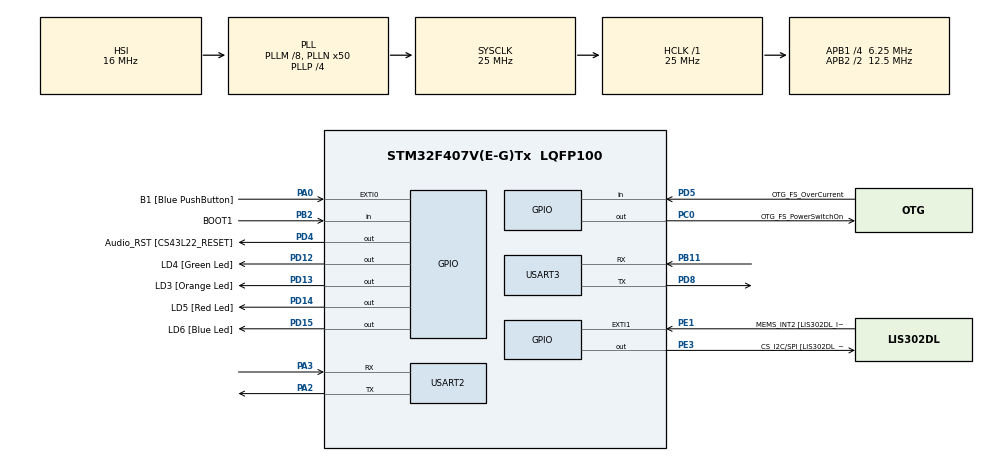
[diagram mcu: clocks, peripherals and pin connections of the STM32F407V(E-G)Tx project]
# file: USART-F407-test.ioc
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Mcu.Family=STM32F4
PA11.GPIO_Speed=GPIO_SPEED_FREQ_LOW
NVIC.USART3_IRQn=true\:0\:0\:false\:false\:true\:true\:true
PC3.GPIO_Mode=GPIO_MODE_AF_PP
PD12.GPIO_Label=LD4 [Green Led]
PH0-OSC_IN.Signal=RCC_OSC_IN
RCC.CortexFreq_Value=25000000
PC10.GPIO_PuPd=GPIO_NOPULL
PB10.GPIO_Speed=GPIO_SPEED_FREQ_LOW
PB6.GPIO_Mode=GPIO_MODE_AF_OD
PB10.GPIO_PuPd=GPIO_NOPULL
PA10.GPIO_PuPd=GPIO_NOPULL
PD15.GPIO_Speed=GPIO_SPEED_FREQ_LOW
PC10.Signal=I2S3_CK
PC12.Signal=I2S3_SD
PA14.GPIO_Label=SWCLK
PA7.GPIO_Mode=GPIO_MODE_AF_PP
PC0.GPIO_Label=OTG_FS_PowerSwitchOn
PA6.GPIO_Label=SPI1_MISO [LIS302DL_SDO]
PB6.GPIO_Label=Audio_SCL [CS43L22_SCL]
PC10.GPIO_Speed=GPIO_SPEED_FREQ_LOW
PA11.GPIO_PuPd=GPIO_NOPULL
PB11.Signal=USART3_RX
PC15-OSC32_OUT.GPIO_Label=PC15-OSC32_OUT
PC3.GPIO_Speed=GPIO_SPEED_FREQ_LOW
RCC.SYSCLKSource=RCC_SYSCLKSOURCE_PLLCLK
ProjectManager.StackSize=0x400
PA6.GPIO_Mode=GPIO_MODE_AF_PP
PD13.Signal=GPIO_Output
PD14.GPIO_Speed=GPIO_SPEED_FREQ_LOW
PA12.Signal=USB_OTG_FS_DP
RCC.HCLKFreq_Value=25000000
PD4.Signal=GPIO_Output
RCC.APB2TimFreq_Value=25000000
PB6.Signal=I2C1_SCL
PC7.Signal=I2S3_MCK
PC3.Signal=I2S2_SD
PD8.Signal=USART3_TX
PE1.Signal=GPXTI1
RCC.AHBFreq_Value=25000000
PH0-OSC_IN.GPIO_Label=PH0-OSC_IN
PA9.GPIO_Mode=GPIO_MODE_INPUT
RCC.HSE_VALUE=8000000
PA4.GPIO_PuPd=GPIO_NOPULL
PB2.Signal=GPIO_Input
PA4.GPIO_Speed=GPIO_SPEED_FREQ_LOW
PA6.GPIO_PuPd=GPIO_NOPULL
PA5.GPIO_PuPd=GPIO_NOPULL
PA10.GPIO_Label=OTG_FS_ID
PC7.GPIO_Mode=GPIO_MODE_AF_PP
PD5.GPIO_Mode=GPIO_MODE_INPUT
PD14.GPIO_PuPd=GPIO_NOPULL
PB2.GPIO_PuPd=GPIO_NOPULL
PD13.GPIO_Label=LD3 [Orange Led]
Mcu.Package=LQFP100
PB9.Signal=I2C1_SDA
PA6.Signal=SPI1_MISO
USART2.VirtualMode=VM_ASYNC
PD12.Signal=GPIO_Output
PD5.GPIO_Label=OTG_FS_OverCurrent
PD15.GPIO_PuPd=GPIO_NOPULL
PA10.Signal=USB_OTG_FS_ID
PB9.GPIO_PuPd=GPIO_NOPULL
PA10.GPIO_Speed=GPIO_SPEED_FREQ_LOW
RCC.APB2CLKDivider=RCC_HCLK_DIV2
PB9.GPIO_Speed=GPIO_SPEED_FREQ_LOW
RCC.APB1TimFreq_Value=12500000
PC14-OSC32_IN.GPIO_Label=PC14-OSC32_IN
PC12.GPIO_PuPd=GPIO_NOPULL
PA6.GPIO_Speed=GPIO_SPEED_FREQ_LOW
PC0.GPIO_PuPd=GPIO_NOPULL
PA12.GPIO_PuPd=GPIO_NOPULL
PA4.GPIO_Label=I2S3_WS [CS43L22_LRCK]
PD15.Signal=GPIO_Output
PC0.PinState=GPIO_PIN_SET
PA12.GPIO_Speed=GPIO_SPEED_FREQ_LOW
PA3.Signal=USART2_RX
PB3.GPIO_Label=SWO
PD12.GPIO_Speed=GPIO_SPEED_FREQ_LOW
PD15.GPIO_Label=LD6 [Blue Led]
PB9.GPIO_Label=Audio_SDA [CS43L22_SDA]
PC10.GPIO_Label=I2S3_SCK [CS43L22_SCLK]
PA9.GPIO_Label=VBUS_FS
PB6.GPIO_PuPd=GPIO_NOPULL
PA11.GPIO_Label=OTG_FS_DM
PE1.GPIO_PuPd=GPIO_NOPULL
PD5.Signal=GPIO_Input
PC0.Signal=GPIO_Output
PE1.GPIO_ModeDefaultEXTI=GPIO_MODE_EVT_RISING
RCC.APB1CLKDivider=RCC_HCLK_DIV4
PC14-OSC32_IN.Signal=RCC_OSC32_IN
PA9.GPIO_PuPd=GPIO_NOPULL
NVIC.USART2_IRQn=true\:0\:0\:false\:false\:true\:true\:true
PA12.GPIO_Label=OTG_FS_DP
PA0-WKUP.GPIO_Label=B1 [Blue PushButton]
PA0-WKUP.Signal=GPXTI0
PA10.GPIO_Mode=GPIO_MODE_AF_PP
PA3.Mode=Asynchronous
PA13.Signal=SYS_JTMS-SWDIO
PC10.GPIO_Mode=GPIO_MODE_AF_PP
PD4.GPIO_PuPd=GPIO_NOPULL
PC0.GPIO_Speed=GPIO_SPEED_FREQ_LOW
PB10.GPIO_Mode=GPIO_MODE_AF_PP
PB11.Mode=Asynchronous
ProjectManager.TargetToolchain=STM32CubeIDE
PB10.GPIO_Label=CLK_IN [MP45DT02_CLK]
PA9.Signal=USB_OTG_FS_VBUS
PC7.GPIO_PuPd=GPIO_NOPULL
RCC.LSE_VALUE=32768
PC15-OSC32_OUT.Signal=RCC_OSC32_OUT
PD8.Mode=Asynchronous
PA7.GPIO_PuPd=GPIO_NOPULL
PB10.Signal=I2S2_CK
PA5.Signal=SPI1_SCK
board=STM32F407G-DISC1
PD13.GPIO_Speed=GPIO_SPEED_FREQ_LOW
PC7.GPIO_Speed=GPIO_SPEED_FREQ_LOW
RCC.VCOOutputFreq_Value=100000000
PE1.GPIO_Label=MEMS_INT2 [LIS302DL_INT2]
PA7.GPIO_Speed=GPIO_SPEED_FREQ_LOW
PB9.GPIO_Mode=GPIO_MODE_AF_OD
PA12.GPIO_Mode=GPIO_MODE_AF_PP
PA4.GPIO_Mode=GPIO_MODE_AF_PP
RCC.APB2Freq_Value=12500000
PB2.GPIO_Mode=GPIO_MODE_INPUT
PD4.GPIO_Label=Audio_RST [CS43L22_RESET]
PD4.GPIO_Speed=GPIO_SPEED_FREQ_LOW
PE3.GPIO_PuPd=GPIO_NOPULL
PH1-OSC_OUT.Signal=RCC_OSC_OUT
PD13.GPIO_PuPd=GPIO_NOPULL
PD5.GPIO_PuPd=GPIO_NOPULL
PD14.GPIO_Label=LD5 [Red Led]
PH1-OSC_OUT.GPIO_Label=PH1-OSC_OUT
Mcu.Name=STM32F407V(E-G)Tx
PA2.Signal=USART2_TX
PA13.GPIO_Label=SWDIO
PC7.GPIO_Label=I2S3_MCK [CS43L22_MCLK]
PD14.Signal=GPIO_Output
RCC.48MHZClocksFreq_Value=14285714.285714285
PB3.Signal=SYS_JTDO-SWO
PA4.Signal=I2S3_WS
RCC.SYSCLKFreq_VALUE=25000000
PC12.GPIO_Mode=GPIO_MODE_AF_PP
PA7.GPIO_Label=SPI1_MOSI [LIS302DL_SDA/SDI/SDO]
PA5.GPIO_Label=SPI1_SCK [LIS302DL_SCL/SPC]
USART3.VirtualMode=VM_ASYNC
PE3.GPIO_Speed=GPIO_SPEED_FREQ_LOW
PC12.GPIO_Label=I2S3_SD [CS43L22_SDIN]
PA11.Signal=USB_OTG_FS_DM
PA14.Signal=SYS_JTCK-SWCLK
PB2.GPIO_Label=BOOT1
ProjectManager.HeapSize=0x200
RCC.HSI_VALUE=16000000
RCC.PLLP=RCC_PLLP_DIV4
PA5.GPIO_Speed=GPIO_SPEED_FREQ_LOW
RCC.PLLQ=7
NVIC.PriorityGroup=NVIC_PRIORITYGROUP_0
RCC.PLLM=8
RCC.PLLN=50
PE3.Signal=GPIO_Output
PA2.Mode=Asynchronous
PE3.GPIO_Label=CS_I2C/SPI [LIS302DL_CS_I2C/SPI]
PC3.GPIO_Label=PDM_OUT [MP45DT02_DOUT]
PA11.GPIO_Mode=GPIO_MODE_AF_PP
PB6.GPIO_Speed=GPIO_SPEED_FREQ_LOW
RCC.APB1Freq_Value=6250000
PA5.GPIO_Mode=GPIO_MODE_AF_PP
PC12.GPIO_Speed=GPIO_SPEED_FREQ_LOW
PC3.GPIO_PuPd=GPIO_NOPULL
PD12.GPIO_PuPd=GPIO_NOPULL
PA7.Signal=SPI1_MOSI

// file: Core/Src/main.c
/* USER CODE BEGIN Header */
/**
  ******************************************************************************
  * @file           : main.c
  * @brief          : Main program body
  ******************************************************************************
  * @attention
  *
  * <h2><center>&copy; Copyright (c) 2021 STMicroelectronics.
  * All rights reserved.</center></h2>
  *
  * This software component is licensed by ST under BSD 3-Clause license,
  * the "License"; You may not use this file except in compliance with the
  * License. You may obtain a copy of the License at:
  *                        opensource.org/licenses/BSD-3-Clause
  *
  ******************************************************************************
  */
/* USER CODE END Header */
#include "main.h"

UART_HandleTypeDef huart2;
UART_HandleTypeDef huart3;

/* USER CODE BEGIN PV */
uint8_t size =12;
//Duzina poruke je 12B, prvi bajt je primalac, drugi bajt je posiljalac, a ostalih 10 bajta je poruka
// TX bufferi, nizovi koji imaju 12 elemenata
//uint8_t huart1_tx_buffer[12];
uint8_t huart2_tx_buffer[12];
uint8_t huart3_tx_buffer[12];

// RX bufferi, nizovi koji imaju 12 elemenata

//uint8_t huart1_rx_buffer[12];
uint8_t huart2_rx_buffer[12];
uint8_t huart3_rx_buffer[12];

uint8_t data[]="Hello World\r\n";

// RX bufferi, nizovi koji imaju 12 elemenata

// Pomocni flagovi koji ce nam omoguciti pravilnu kontrolu toka programa
//uint8_t tx1_flag = 0;
uint8_t tx2_flag = 0;
uint8_t tx3_flag = 0;
/* USER CODE END PV */

void SystemClock_Config(void);
static void MX_GPIO_Init(void);
static void MX_USART2_UART_Init(void);
static void MX_USART3_UART_Init(void);

/* USER CODE BEGIN 0 */
void HAL_UART_RxCpltCallback(UART_HandleTypeDef *huart)
{
//	if(huart->Instance == USART1)
//		{
//		// Ukoliko USART1 salje poruku, prvo provjeravamo kome salje
//		// tako sto mu provjeravamo prvi element niza
//		// ako je prvi element 2 salje se poruka na usart 2
//		// ako je prvi element 3 salje se poruka na usart 6
//			if(huart1_rx_buffer[0]=='2')
//				{
//		// Petlja prolazi kroz rx_buffer usarta 1 i smijesta ga u usart 2
//				for(int i = 0; i < size; i++)
//					huart2_tx_buffer[i] = huart1_rx_buffer[i];
//		// Setujemo flag na 1 da bismo znali da je poruka primljena
//				tx2_flag = 1;
//				}
//				if(huart1_rx_buffer[0]=='3')
//				{
//		// Petlja prolazi kroz rx_buffer usarta 1 i smijesta ga u usart 6
//				for(int i = 0; i < size; i++)
//					huart3_tx_buffer[i] = huart1_rx_buffer[i];
//		// Setujemo flag na 1 da bismo znali da je poruka primljena
//				tx3_flag = 1;
//				}
//		}

		if (huart->Instance == USART2)
		{
		// Isti postupak kao u prethodnom slucaju, samo je ovaj put USART2
		// onaj koji salje poruku, a USART 1 i USART 6 primaju poruku

//			if(huart2_rx_buffer[0]=='1')
//				{
//				for(int i = 0; i < size; i++)
//					huart1_tx_buffer[i] = huart2_rx_buffer[i];
//				tx1_flag = 1;
//				}
//
			if(huart2_rx_buffer[0]=='3')
			{
			for(int i = 0; i < size; i++)
				huart3_tx_buffer[i] = huart2_rx_buffer[i];
			tx3_flag = 1;
			}
		}

		if (huart->Instance == USART3)
		{

		// Isti postupak kao u prethodnom slucaju, samo je ovaj put USART6
		// onaj koji salje poruku, a USART 1 i USART 2 primaju poruku

//			if(huart3_rx_buffer[0]=='1')
//				{
//				for(int i = 0; i < size; i++)
//					huart1_tx_buffer[i] = huart3_rx_buffer[i];
//				tx1_flag = 1;
//				}
			if(huart3_rx_buffer[0]=='2')
				{
				for(int i = 0; i < size; i++)
					huart2_tx_buffer[i] = huart3_rx_buffer[i];
				tx2_flag = 1;
				}
		}
};

void HAL_UART_TxCpltCallback(UART_HandleTypeDef *huart)
{
//	if(huart->Instance == USART1)
//		{
//			// transmit complete callback za UART 1
//			// Prebacivanje podataka iz tx_buffera u rx_buffer i
//			// nakon toga cistimo tx_buffer te ga oslobadjamo za novu poruku
//			for(int i = 0; i < size; i++)
//			{
//				huart1_rx_buffer[i] = huart1_tx_buffer[i];
//				huart1_tx_buffer[i] = 0;
//			}
//			tx1_flag = 0;
//		}

		if (huart->Instance == USART2)
		{
			// transmit complete callback za UART 2
			for(int i = 0; i < size; i++)
			{
				huart2_rx_buffer[i] = huart2_tx_buffer[i];
				huart2_tx_buffer[i] = 0;
			}
			tx2_flag = 0;
		}

		if (huart->Instance == USART3)
		{
		// transmit complete callback za UART 6

			for(int i = 0; i < size; i++)
			{
				huart3_rx_buffer[i] = huart3_tx_buffer[i];
				huart3_tx_buffer[i] = 0;
			}
			tx3_flag = 0;
		}
};
/* USER CODE END 0 */

int main(void)
{

  /* MCU Configuration--------------------------------------------------------*/

  /* Reset of all peripherals, Initializes the Flash interface and the Systick. */
  HAL_Init();

  /* Configure the system clock */
  SystemClock_Config();

  /* Initialize all configured peripherals */
  MX_GPIO_Init();
  MX_USART2_UART_Init();
  MX_USART3_UART_Init();
  // Potrebno je da omogucimo interrupt za svaki UART
	__HAL_UART_ENABLE_IT(&huart3,UART_IT_RXNE);
	__HAL_UART_ENABLE_IT(&huart2,UART_IT_RXNE);
//	__HAL_UART_ENABLE_IT(&huart6,UART_IT_RXNE);
  /* Infinite loop */
  /* USER CODE BEGIN WHILE */
  while (1)
  {

	  HAL_UART_Transmit(&huart2,data,sizeof(data),100);
	  HAL_Delay(500);
	  HAL_UART_Transmit(&huart3,data,sizeof(data),100);
	  HAL_Delay(500);
    /* USER CODE END WHILE */
		// Provjeravamo da li usart zauzet
//		  if(huart1.RxState != HAL_UART_STATE_BUSY_RX)
//		  			HAL_UART_Receive_IT(&huart1,huart1_rx_buffer,sizeof(huart1_rx_buffer));
		  if(huart2.RxState != HAL_UART_STATE_BUSY_RX){
		  			HAL_UART_Receive_IT(&huart2,huart2_rx_buffer,sizeof(huart2_rx_buffer));
		  }
		  if(huart3.RxState != HAL_UART_STATE_BUSY_RX){
		  			HAL_UART_Receive_IT(&huart3,huart3_rx_buffer,sizeof(huart3_rx_buffer));
		  }
		  // Provjeravamo da li usart zauzet i da li imamo spremnu poruku
//		  if(huart1.gState != HAL_UART_STATE_BUSY_TX && tx1_flag)
//		  			HAL_UART_Transmit_IT(&huart1,huart1_tx_buffer,sizeof(huart1_tx_buffer));
		  if(huart2.gState != HAL_UART_STATE_BUSY_TX && tx2_flag){
	                HAL_UART_Transmit(&huart2,huart2_rx_buffer,sizeof(huart2_rx_buffer),100);
		  			HAL_UART_Transmit_IT(&huart2,huart2_tx_buffer,sizeof(huart2_tx_buffer));
		            HAL_UART_Transmit(&huart2,huart2_rx_buffer,sizeof(huart2_rx_buffer),100);
		  }
		  if(huart3.gState != HAL_UART_STATE_BUSY_TX && tx3_flag){
	                HAL_UART_Transmit(&huart3,huart3_rx_buffer,sizeof(huart3_rx_buffer),100);
		  			HAL_UART_Transmit_IT(&huart3,huart3_tx_buffer,sizeof(huart3_tx_buffer));
		            HAL_UART_Transmit(&huart3,huart3_rx_buffer,sizeof(huart3_rx_buffer),100);
		  }
  }
}

void SystemClock_Config(void)
{
  RCC_OscInitTypeDef RCC_OscInitStruct = {0};
  RCC_ClkInitTypeDef RCC_ClkInitStruct = {0};

  /** Configure the main internal regulator output voltage
  */
  __HAL_RCC_PWR_CLK_ENABLE();
  __HAL_PWR_VOLTAGESCALING_CONFIG(PWR_REGULATOR_VOLTAGE_SCALE1);
  /** Initializes the RCC Oscillators according to the specified parameters
  * in the RCC_OscInitTypeDef structure.
  */
  RCC_OscInitStruct.OscillatorType = RCC_OSCILLATORTYPE_HSI;
  RCC_OscInitStruct.HSIState = RCC_HSI_ON;
  RCC_OscInitStruct.HSICalibrationValue = RCC_HSICALIBRATION_DEFAULT;
  RCC_OscInitStruct.PLL.PLLState = RCC_PLL_ON;
  RCC_OscInitStruct.PLL.PLLSource = RCC_PLLSOURCE_HSI;
  RCC_OscInitStruct.PLL.PLLM = 8;
  RCC_OscInitStruct.PLL.PLLN = 50;
  RCC_OscInitStruct.PLL.PLLP = RCC_PLLP_DIV4;
  RCC_OscInitStruct.PLL.PLLQ = 7;
  if (HAL_RCC_OscConfig(&RCC_OscInitStruct) != HAL_OK)
  {
    Error_Handler();
  }
  /** Initializes the CPU, AHB and APB buses clocks
  */
  RCC_ClkInitStruct.ClockType = RCC_CLOCKTYPE_HCLK|RCC_CLOCKTYPE_SYSCLK
                              |RCC_CLOCKTYPE_PCLK1|RCC_CLOCKTYPE_PCLK2;
  RCC_ClkInitStruct.SYSCLKSource = RCC_SYSCLKSOURCE_PLLCLK;
  RCC_ClkInitStruct.AHBCLKDivider = RCC_SYSCLK_DIV1;
  RCC_ClkInitStruct.APB1CLKDivider = RCC_HCLK_DIV4;
  RCC_ClkInitStruct.APB2CLKDivider = RCC_HCLK_DIV2;

  if (HAL_RCC_ClockConfig(&RCC_ClkInitStruct, FLASH_LATENCY_0) != HAL_OK)
  {
    Error_Handler();
  }
}

static void MX_USART2_UART_Init(void)
{

  huart2.Instance = USART2;
  huart2.Init.BaudRate = 115200;
  huart2.Init.WordLength = UART_WORDLENGTH_8B;
  huart2.Init.StopBits = UART_STOPBITS_1;
  huart2.Init.Parity = UART_PARITY_NONE;
  huart2.Init.Mode = UART_MODE_TX_RX;
  huart2.Init.HwFlowCtl = UART_HWCONTROL_NONE;
  huart2.Init.OverSampling = UART_OVERSAMPLING_16;
  if (HAL_UART_Init(&huart2) != HAL_OK)
  {
    Error_Handler();
  }

}

static void MX_USART3_UART_Init(void)
{

  huart3.Instance = USART3;
  huart3.Init.BaudRate = 115200;
  huart3.Init.WordLength = UART_WORDLENGTH_8B;
  huart3.Init.StopBits = UART_STOPBITS_1;
  huart3.Init.Parity = UART_PARITY_NONE;
  huart3.Init.Mode = UART_MODE_TX_RX;
  huart3.Init.HwFlowCtl = UART_HWCONTROL_NONE;
  huart3.Init.OverSampling = UART_OVERSAMPLING_16;
  if (HAL_UART_Init(&huart3) != HAL_OK)
  {
    Error_Handler();
  }

}

static void MX_GPIO_Init(void)
{
  GPIO_InitTypeDef GPIO_InitStruct = {0};

  /* GPIO Ports Clock Enable */
  __HAL_RCC_GPIOE_CLK_ENABLE();
  __HAL_RCC_GPIOC_CLK_ENABLE();
  __HAL_RCC_GPIOH_CLK_ENABLE();
  __HAL_RCC_GPIOA_CLK_ENABLE();
  __HAL_RCC_GPIOB_CLK_ENABLE();
  __HAL_RCC_GPIOD_CLK_ENABLE();

  /*Configure GPIO pin Output Level */
  HAL_GPIO_WritePin(CS_I2C_SPI_GPIO_Port, CS_I2C_SPI_Pin, GPIO_PIN_RESET);

  /*Configure GPIO pin Output Level */
  HAL_GPIO_WritePin(OTG_FS_PowerSwitchOn_GPIO_Port, OTG_FS_PowerSwitchOn_Pin, GPIO_PIN_SET);

  /*Configure GPIO pin Output Level */
  HAL_GPIO_WritePin(GPIOD, LD4_Pin|LD3_Pin|LD5_Pin|LD6_Pin
                          |Audio_RST_Pin, GPIO_PIN_RESET);

  /*Configure GPIO pin : CS_I2C_SPI_Pin */
  GPIO_InitStruct.Pin = CS_I2C_SPI_Pin;
  GPIO_InitStruct.Mode = GPIO_MODE_OUTPUT_PP;
  GPIO_InitStruct.Pull = GPIO_NOPULL;
  GPIO_InitStruct.Speed = GPIO_SPEED_FREQ_LOW;
  HAL_GPIO_Init(CS_I2C_SPI_GPIO_Port, &GPIO_InitStruct);

  /*Configure GPIO pin : OTG_FS_PowerSwitchOn_Pin */
  GPIO_InitStruct.Pin = OTG_FS_PowerSwitchOn_Pin;
  GPIO_InitStruct.Mode = GPIO_MODE_OUTPUT_PP;
  GPIO_InitStruct.Pull = GPIO_NOPULL;
  GPIO_InitStruct.Speed = GPIO_SPEED_FREQ_LOW;
  HAL_GPIO_Init(OTG_FS_PowerSwitchOn_GPIO_Port, &GPIO_InitStruct);

  /*Configure GPIO pin : PDM_OUT_Pin */
  GPIO_InitStruct.Pin = PDM_OUT_Pin;
  GPIO_InitStruct.Mode = GPIO_MODE_AF_PP;
  GPIO_InitStruct.Pull = GPIO_NOPULL;
  GPIO_InitStruct.Speed = GPIO_SPEED_FREQ_LOW;
  GPIO_InitStruct.Alternate = GPIO_AF5_SPI2;
  HAL_GPIO_Init(PDM_OUT_GPIO_Port, &GPIO_InitStruct);

  /*Configure GPIO pin : B1_Pin */
  GPIO_InitStruct.Pin = B1_Pin;
  GPIO_InitStruct.Mode = GPIO_MODE_IT_RISING;
  GPIO_InitStruct.Pull = GPIO_NOPULL;
  HAL_GPIO_Init(B1_GPIO_Port, &GPIO_InitStruct);

  /*Configure GPIO pin : I2S3_WS_Pin */
  GPIO_InitStruct.Pin = I2S3_WS_Pin;
  GPIO_InitStruct.Mode = GPIO_MODE_AF_PP;
  GPIO_InitStruct.Pull = GPIO_NOPULL;
  GPIO_InitStruct.Speed = GPIO_SPEED_FREQ_LOW;
  GPIO_InitStruct.Alternate = GPIO_AF6_SPI3;
  HAL_GPIO_Init(I2S3_WS_GPIO_Port, &GPIO_InitStruct);

  /*Configure GPIO pins : SPI1_SCK_Pin SPI1_MISO_Pin SPI1_MOSI_Pin */
  GPIO_InitStruct.Pin = SPI1_SCK_Pin|SPI1_MISO_Pin|SPI1_MOSI_Pin;
  GPIO_InitStruct.Mode = GPIO_MODE_AF_PP;
  GPIO_InitStruct.Pull = GPIO_NOPULL;
  GPIO_InitStruct.Speed = GPIO_SPEED_FREQ_LOW;
  GPIO_InitStruct.Alternate = GPIO_AF5_SPI1;
  HAL_GPIO_Init(GPIOA, &GPIO_InitStruct);

  /*Configure GPIO pin : BOOT1_Pin */
  GPIO_InitStruct.Pin = BOOT1_Pin;
  GPIO_InitStruct.Mode = GPIO_MODE_INPUT;
  GPIO_InitStruct.Pull = GPIO_NOPULL;
  HAL_GPIO_Init(BOOT1_GPIO_Port, &GPIO_InitStruct);

  /*Configure GPIO pin : CLK_IN_Pin */
  GPIO_InitStruct.Pin = CLK_IN_Pin;
  GPIO_InitStruct.Mode = GPIO_MODE_AF_PP;
  GPIO_InitStruct.Pull = GPIO_NOPULL;
  GPIO_InitStruct.Speed = GPIO_SPEED_FREQ_LOW;
  GPIO_InitStruct.Alternate = GPIO_AF5_SPI2;
  HAL_GPIO_Init(CLK_IN_GPIO_Port, &GPIO_InitStruct);

  /*Configure GPIO pins : LD4_Pin LD3_Pin LD5_Pin LD6_Pin
                           Audio_RST_Pin */
  GPIO_InitStruct.Pin = LD4_Pin|LD3_Pin|LD5_Pin|LD6_Pin
                          |Audio_RST_Pin;
  GPIO_InitStruct.Mode = GPIO_MODE_OUTPUT_PP;
  GPIO_InitStruct.Pull = GPIO_NOPULL;
  GPIO_InitStruct.Speed = GPIO_SPEED_FREQ_LOW;
  HAL_GPIO_Init(GPIOD, &GPIO_InitStruct);

  /*Configure GPIO pins : I2S3_MCK_Pin I2S3_SCK_Pin I2S3_SD_Pin */
  GPIO_InitStruct.Pin = I2S3_MCK_Pin|I2S3_SCK_Pin|I2S3_SD_Pin;
  GPIO_InitStruct.Mode = GPIO_MODE_AF_PP;
  GPIO_InitStruct.Pull = GPIO_NOPULL;
  GPIO_InitStruct.Speed = GPIO_SPEED_FREQ_LOW;
  GPIO_InitStruct.Alternate = GPIO_AF6_SPI3;
  HAL_GPIO_Init(GPIOC, &GPIO_InitStruct);

  /*Configure GPIO pin : VBUS_FS_Pin */
  GPIO_InitStruct.Pin = VBUS_FS_Pin;
  GPIO_InitStruct.Mode = GPIO_MODE_INPUT;
  GPIO_InitStruct.Pull = GPIO_NOPULL;
  HAL_GPIO_Init(VBUS_FS_GPIO_Port, &GPIO_InitStruct);

  /*Configure GPIO pins : OTG_FS_ID_Pin OTG_FS_DM_Pin OTG_FS_DP_Pin */
  GPIO_InitStruct.Pin = OTG_FS_ID_Pin|OTG_FS_DM_Pin|OTG_FS_DP_Pin;
  GPIO_InitStruct.Mode = GPIO_MODE_AF_PP;
  GPIO_InitStruct.Pull = GPIO_NOPULL;
  GPIO_InitStruct.Speed = GPIO_SPEED_FREQ_LOW;
  GPIO_InitStruct.Alternate = GPIO_AF10_OTG_FS;
  HAL_GPIO_Init(GPIOA, &GPIO_InitStruct);

  /*Configure GPIO pin : OTG_FS_OverCurrent_Pin */
  GPIO_InitStruct.Pin = OTG_FS_OverCurrent_Pin;
  GPIO_InitStruct.Mode = GPIO_MODE_INPUT;
  GPIO_InitStruct.Pull = GPIO_NOPULL;
  HAL_GPIO_Init(OTG_FS_OverCurrent_GPIO_Port, &GPIO_InitStruct);

  /*Configure GPIO pins : Audio_SCL_Pin Audio_SDA_Pin */
  GPIO_InitStruct.Pin = Audio_SCL_Pin|Audio_SDA_Pin;
  GPIO_InitStruct.Mode = GPIO_MODE_AF_OD;
  GPIO_InitStruct.Pull = GPIO_PULLUP;
  GPIO_InitStruct.Speed = GPIO_SPEED_FREQ_LOW;
  GPIO_InitStruct.Alternate = GPIO_AF4_I2C1;
  HAL_GPIO_Init(GPIOB, &GPIO_InitStruct);

  /*Configure GPIO pin : MEMS_INT2_Pin */
  GPIO_InitStruct.Pin = MEMS_INT2_Pin;
  GPIO_InitStruct.Mode = GPIO_MODE_EVT_RISING;
  GPIO_InitStruct.Pull = GPIO_NOPULL;
  HAL_GPIO_Init(MEMS_INT2_GPIO_Port, &GPIO_InitStruct);

}

void Error_Handler(void)
{
  __disable_irq();
  while (1)
  {
  }
}

/************************ (C) COPYRIGHT STMicroelectronics *****END OF FILE****/
